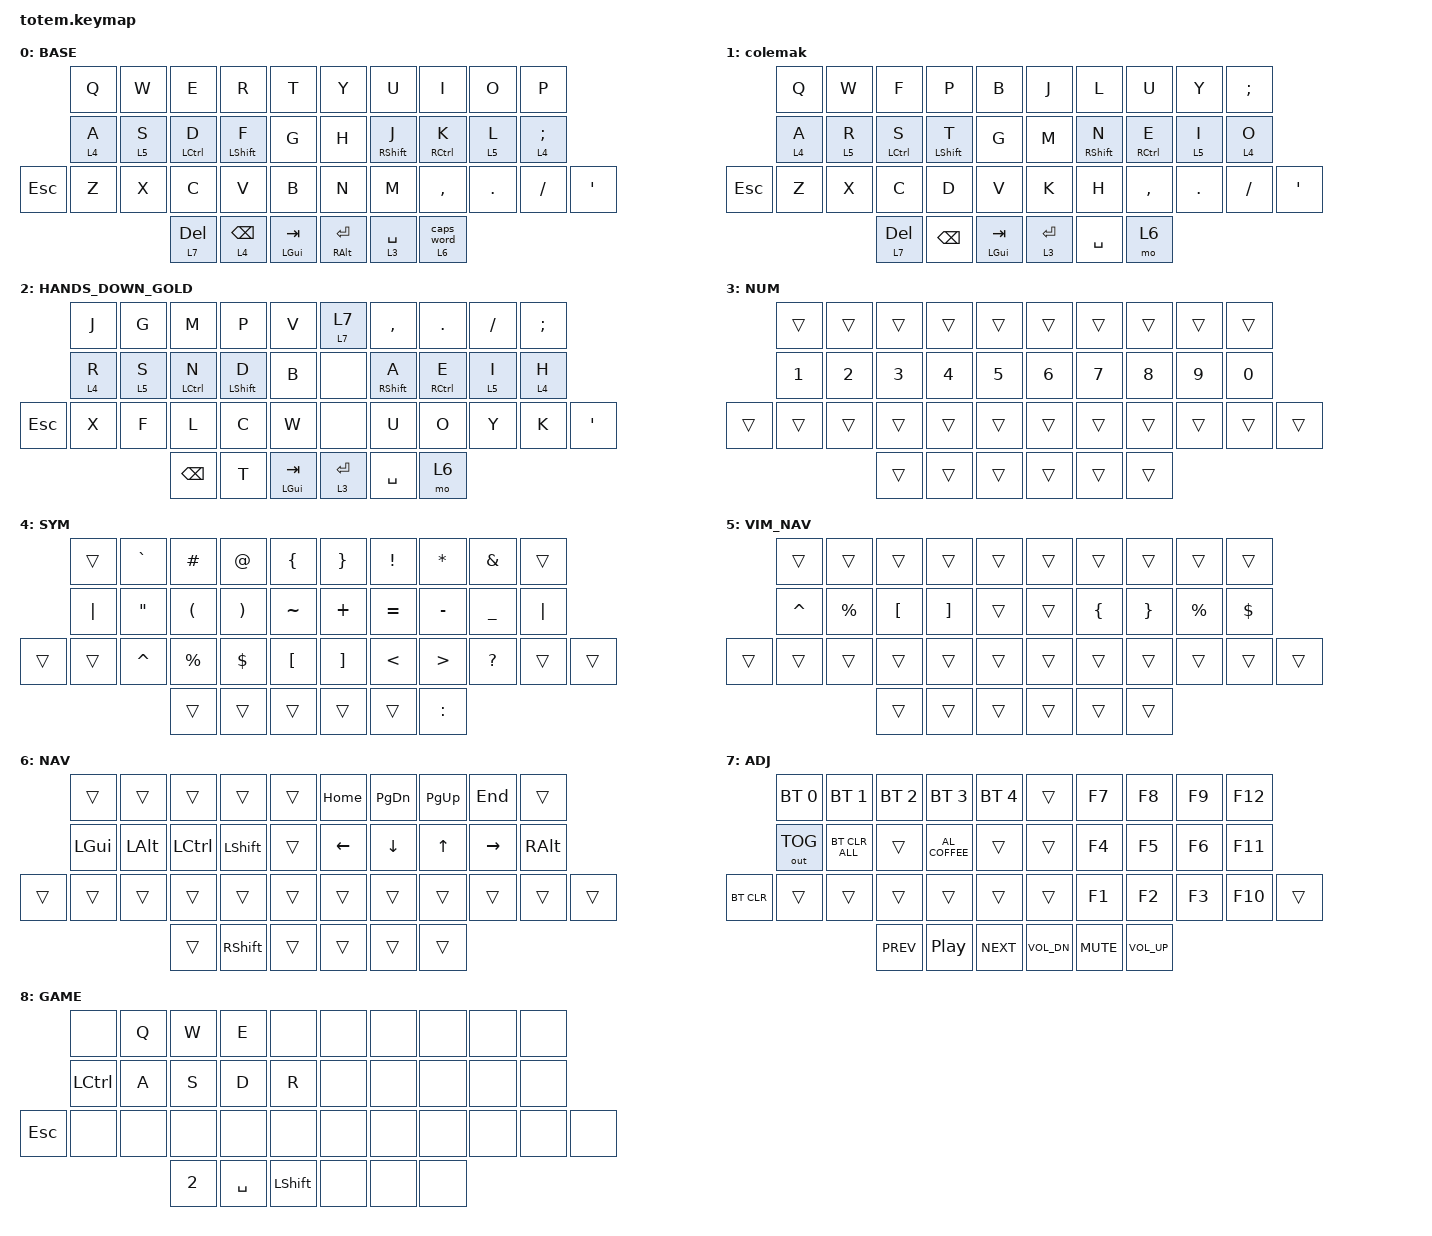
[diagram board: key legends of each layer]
//
//                                                        ▀▀▀▀▀     ▀▀▀▀▀          ▀▀█▀▀
//                                                        ▄▀▀▀▄  ▄  ▄▀▀▀▄  ▄  ▄▀▀▀▄  █  ▄▀▀▀▄
//                                                        █   █  █  █   █  █  █   █  █  █   █
//                                                         ▀▀▀   █   ▀▀▀   █   ▀▀▀   ▀   ▀▀▀
//                                                               █      ▄▄▄█▄▄▄    █   █  
//                                                               ▀      █  █  █     █▄█
//                                                             ▀▀▀▀▀    █  █  █      ▀
//                                                                      ▀  ▀  ▀
//
// ▄▄▄▄▄▄▄▄▄▄▄▄▄▄▄▄▄▄▄▄▄▄▄▄▄▄▄▄▄▄▄▄▄▄▄▄▄▄▄▄▄▄▄▄▄▄▄▄▄▄▄▄▄▄▄▄▄▄▄▄▄▄▄▄▄▄▄▄▄▄▄▄▄▄▄▄▄▄▄▄▄▄▄▄▄▄▄▄▄▄▄▄▄▄▄▄▄▄▄▄▄▄▄▄▄▄▄▄▄▄▄▄▄▄▄▄▄▄▄▄▄▄▄▄▄▄▄▄▄▄▄▄▄▄▄▄▄▄▄▄▄▄▄▄▄▄▄▄▄

#include <behaviors.dtsi>
#include <dt-bindings/zmk/bt.h>
#include <dt-bindings/zmk/keys.h>
#include <dt-bindings/zmk/outputs.h>

#define BASE 0
#define NAV  1
#define SYM  2
#define ADJ  3
#define TVP1 4
#define TVP2 5

&mt {
    quick-tap-ms = <100>;
    flavor = "balanced";
    tapping-term-ms = <170>;
};

/ {
    combos {
        compatible = "zmk,combos";

        leader {
            bindings = <&kp BSLH>;
            key-positions = <13 16>;
        };

        switch_lang {
            bindings = <&alts>;
            key-positions = <32 37>;
        };

        hands_down {
            bindings = <&tog 2>;
            key-positions = <20 31>;
            layers = <2 0>;
        };

        capsword {
            bindings = <&caps_word>;
            key-positions = <33 36>;
        };

        hdg_q {
            bindings = <&kp Q>;
            key-positions = <1 0>;
            layers = <2>;
        };

        hdg_z {
            bindings = <&kp Z>;
            key-positions = <1 3>;
            layers = <2>;
        };
    };

    macros {
        alts: alts {
            compatible = "zmk,behavior-macro";
            #binding-cells = <0>;
            bindings =
                <&macro_press>,
                <&kp LEFT_ALT>,
                <&macro_press>,
                <&kp RIGHT_ALT>,
                <&macro_release>,
                <&kp LEFT_ALT>,
                <&macro_release>,
                <&kp RIGHT_ALT>,
                <&macro_tap>,
                <&kp RALT>;

            label = "ALTS";
        };
    };

    behaviors {
        hll: home_layer_left {
            compatible = "zmk,behavior-hold-tap";
            label = "HLL";
            bindings = <&mo>, <&kp>;

            #binding-cells = <2>;
            tapping-term-ms = <200>;
            quick-tap-ms = <125>;
            require-prior-idle-ms = <60>;
            flavor = "balanced";
            hold-trigger-key-positions = <26 15 16 27 5 6 7 8 9 15 16 17 18 19 26 27 28 29 31 30>;
            hold-trigger-on-release;
        };

        hlr: home_layer_right {
            compatible = "zmk,behavior-hold-tap";
            label = "HLR";
            bindings = <&mo>, <&kp>;

            #binding-cells = <2>;
            hold-trigger-key-positions = <0 1 2 3 4 10 11 12 13 14 20 22 23 24 25 21>;
            hold-trigger-on-release;
            tapping-term-ms = <200>;
            quick-tap-ms = <125>;
            require-prior-idle-ms = <60>;
            flavor = "balanced";
        };

        hml: home_mod_left {
            compatible = "zmk,behavior-hold-tap";
            label = "HML";
            bindings = <&kp>, <&kp>;

            #binding-cells = <2>;
            tapping-term-ms = <175>;
            quick-tap-ms = <125>;
            require-prior-idle-ms = <50>;
            flavor = "balanced";
            hold-trigger-on-release;
            hold-trigger-key-positions = <5 6 7 8 9 15 16 17 18 19 26 27 28 29 30 31 35 36 37>;
        };

        hmr: home_mod_right {
            compatible = "zmk,behavior-hold-tap";
            label = "HMR";
            bindings = <&kp>, <&kp>;

            #binding-cells = <2>;
            tapping-term-ms = <175>;
            quick-tap-ms = <125>;
            require-prior-idle-ms = <50>;
            flavor = "balanced";
            hold-trigger-on-release;
            hold-trigger-key-positions = <0 1 2 3 4 10 11 12 13 14 20 21 22 23 24 25 32 33 34>;
        };

        thi: thi {
            compatible = "zmk,behavior-hold-tap";
            label = "THI";
            bindings = <&mo>, <&tog>;

            #binding-cells = <2>;
            tapping-term-ms = <150>;
        };

        hc: hold-caps {
            compatible = "zmk,behavior-hold-tap";
            label = "HOLD-CAPS";
            bindings = <&mo>, <&caps_word>;

            #binding-cells = <2>;
            tapping-term-ms = <150>;
        };

        nt: num-tab {
            compatible = "zmk,behavior-hold-tap";
            label = "NUM-TAB";
            bindings = <&mo>, <&kp>;

            #binding-cells = <2>;
            flavor = "balanced";
            hold-trigger-key-positions = <10 11 12 13 14 15 16 17 18 19>;
            tapping-term-ms = <250>;
            quick-tap-ms = <150>;
            require-prior-idle-ms = <60>;
        };
    };

    keymap {
        compatible = "zmk,keymap";

        // ▄▄▄▄▄▄▄▄▄▄▄▄▄▄▄▄▄▄▄▄▄▄▄▄▄▄▄▄▄▄▄▄▄▄▄▄▄▄▄▄▄▄▄▄▄▄▄▄▄▄▄▄▄▄▄▄▄▄▄▄▄▄▄▄▄▄▄▄▄▄▄▄▄▄▄▄▄▄▄▄▄▄▄▄▄▄▄▄▄▄▄▄▄▄▄▄▄▄▄▄▄▄▄▄▄▄▄▄▄▄▄▄▄▄▄▄▄▄▄▄▄▄▄▄▄▄▄▄▄▄▄▄▄▄▄▄▄▄▄▄▄▄▄▄▄▄▄▄▄

        base_layer {
            // ┏━━━━━━━━━━━━━━━━━━━━━━━━━━━━━━━━━━━━━━━┓

            label = "BASE";

            // ┗━━━━━━━━━━━━━━━━━━━━━━━━━━━━━━━━━━━━━━━┛
            //             ┏━━━━━━━━━━━┳━━━━━━━━━━━┳━━━━━━━━━━━┳━━━━━━━━━━━┳━━━━━━━━━━━┓   ┏━━━━━━━━━━━┳━━━━━━━━━━━┳━━━━━━━━━━━┳━━━━━━━━━━━┳━━━━━━━━━━━┓
            //             ┃     Q     ┃     W     ┃     E     ┃     R     ┃     T     ┃   ┃     Y     ┃     U     ┃     I     ┃     O     ┃     P     ┃
            //             ┣━━━━━━━━━━━╋━━━━━━━━━━━╋━━━━━━━━━━━╋━━━━━━━━━━━╋━━━━━━━━━━━┫   ┣━━━━━━━━━━━╋━━━━━━━━━━━╋━━━━━━━━━━━╋━━━━━━━━━━━╋━━━━━━━━━━━┫
            //             ┃    4/A    ┃    5/S    ┃  CTRL/D   ┃  SHFT/F   ┃     G     ┃   ┃     H     ┃  SHFT/J   ┃  CTRL/K   ┃    5/L    ┃    4/;    ┃
            // ┏━━━━━━━━━━━╋━━━━━━━━━━━╋━━━━━━━━━━━╋━━━━━━━━━━━╋━━━━━━━━━━━╋━━━━━━━━━━━┫   ┣━━━━━━━━━━━╋━━━━━━━━━━━╋━━━━━━━━━━━╋━━━━━━━━━━━╋━━━━━━━━━━━╋━━━━━━━━━━━┓
            // ┃    ESC    ┃     Z     ┃     X     ┃     C     ┃     V     ┃     B     ┃   ┃     N     ┃     M     ┃     ,     ┃     .     ┃     /     ┃     '     ┃
            // ┗━━━━━━━━━━━┻━━━━━━━━━━━┻━━━━━━━━━━━┻━━━━━━━━━━━┻━━━━━━━━━━━┻━━━━━━━━━━━┛   ┗━━━━━━━━━━━┻━━━━━━━━━━━┻━━━━━━━━━━━┻━━━━━━━━━━━┻━━━━━━━━━━━┻━━━━━━━━━━━┛
            //                                     ┏━━━━━━━━━━━┳━━━━━━━━━━━┳━━━━━━━━━━━┓   ┏━━━━━━━━━━━┳━━━━━━━━━━━┳━━━━━━━━━━━┓
            //                                     ┃   7/DEL   ┃   BSPC    ┃  GUI/TAB  ┃   ┃  3/ENTER  ┃           ┃    NAV    ┃
            //                                     ┗━━━━━━━━━━━┻━━━━━━━━━━━┻━━━━━━━━━━━┛   ┗━━━━━━━━━━━┻━━━━━━━━━━━┻━━━━━━━━━━━┛

            bindings = <
            &kp Q     &kp W     &kp E         &kp R         &kp T           &kp Y           &kp U         &kp I         &kp O     &kp P
            &hll 4 A  &hll 5 S  &hml LCTRL D  &hml LSHFT F  &kp G           &kp H           &hmr RSHFT J  &hmr RCTRL K  &hlr 5 L  &hlr 4 SEMICOLON
&kp ESCAPE  &kp Z     &kp X     &kp C         &kp V         &kp B           &kp N           &kp M         &kp COMMA     &kp DOT   &kp FSLH          &kp SQT
                                &lt 7 DEL     &lt 4 BSPC    &mt LGUI TAB    &mt RALT ENTER  &nt 3 SPACE   &hc 6 0
            >;
        };

        // ▄▄▄▄▄▄▄▄▄▄▄▄▄▄▄▄▄▄▄▄▄▄▄▄▄▄▄▄▄▄▄▄▄▄▄▄▄▄▄▄▄▄▄▄▄▄▄▄▄▄▄▄▄▄▄▄▄▄▄▄▄▄▄▄▄▄▄▄▄▄▄▄▄▄▄▄▄▄▄▄▄▄▄▄▄▄▄▄▄▄▄▄▄▄▄▄▄▄▄▄▄▄▄▄▄▄▄▄▄▄▄▄▄▄▄▄▄▄▄▄▄▄▄▄▄▄▄▄▄▄▄▄▄▄▄▄▄▄▄▄▄▄▄▄▄▄▄▄▄

        colemak {
            bindings = <
         &kp Q     &kp W     &kp F         &kp P          &kp B           &kp J         &kp L         &kp U         &kp Y     &kp SEMI
         &hll 4 A  &hll 5 R  &hml LCTRL S  &hml LSHFT T   &kp G           &kp M         &hmr RSHFT N  &hmr RCTRL E  &hlr 5 I  &hlr 4 O
&kp ESC  &kp Z     &kp X     &kp C         &kp D          &kp V           &kp K         &kp H         &kp COMMA     &kp DOT   &kp FSLH  &kp APOS
                             &lt 7 DEL     &kp BACKSPACE  &mt LGUI TAB    &lt 3 RETURN  &kp SPACE     &mo 6
            >;
        };

        // ▄▄▄▄▄▄▄▄▄▄▄▄▄▄▄▄▄▄▄▄▄▄▄▄▄▄▄▄▄▄▄▄▄▄▄▄▄▄▄▄▄▄▄▄▄▄▄▄▄▄▄▄▄▄▄▄▄▄▄▄▄▄▄▄▄▄▄▄▄▄▄▄▄▄▄▄▄▄▄▄▄▄▄▄▄▄▄▄▄▄▄▄▄▄▄▄▄▄▄▄▄▄▄▄▄▄▄▄▄▄▄▄▄▄▄▄▄▄▄▄▄▄▄▄▄▄▄▄▄▄▄▄▄▄▄▄▄▄▄▄▄▄▄▄▄▄▄▄▄

        hands_down_gold {
            //   ┏━━━━━━━━━━━━━━━━━━━━━━━━━━━━━━━━━━━━━━━┓

            label = "HANDS_DOWN_GOLD";

            //   ┗━━━━━━━━━━━━━━━━━━━━━━━━━━━━━━━━━━━━━━━┛
            //             ┏━━━━━━━━━━━┳━━━━━━━━━━━┳━━━━━━━━━━━┳━━━━━━━━━━━┳━━━━━━━━━━━┓   ┏━━━━━━━━━━━┳━━━━━━━━━━━┳━━━━━━━━━━━┳━━━━━━━━━━━┳━━━━━━━━━━━┓
            //             ┃     J     ┃     G     ┃     M     ┃     P     ┃     V     ┃   ┃    ADJ    ┃     ,     ┃     .     ┃     /     ┃     ;     ┃
            //             ┣━━━━━━━━━━━╋━━━━━━━━━━━╋━━━━━━━━━━━╋━━━━━━━━━━━╋━━━━━━━━━━━┫   ┣━━━━━━━━━━━╋━━━━━━━━━━━╋━━━━━━━━━━━╋━━━━━━━━━━━╋━━━━━━━━━━━┫
            //             ┃     R     ┃     S     ┃     N     ┃     D     ┃     B     ┃   ┃   None    ┃     A     ┃     E     ┃     I     ┃     H     ┃
            // ┏━━━━━━━━━━━╋━━━━━━━━━━━╋━━━━━━━━━━━╋━━━━━━━━━━━╋━━━━━━━━━━━╋━━━━━━━━━━━┫   ┣━━━━━━━━━━━╋━━━━━━━━━━━╋━━━━━━━━━━━╋━━━━━━━━━━━╋━━━━━━━━━━━╋━━━━━━━━━━━┓
            // ┃    ESC    ┃     X     ┃     F     ┃     L     ┃     C     ┃     W     ┃   ┃   None    ┃     U     ┃     O     ┃     Y     ┃     K     ┃     '     ┃
            // ┗━━━━━━━━━━━┻━━━━━━━━━━━┻━━━━━━━━━━━┻━━━━━━━━━━━┻━━━━━━━━━━━┻━━━━━━━━━━━┛   ┗━━━━━━━━━━━┻━━━━━━━━━━━┻━━━━━━━━━━━┻━━━━━━━━━━━┻━━━━━━━━━━━┻━━━━━━━━━━━┛
            //                                     ┏━━━━━━━━━━━┳━━━━━━━━━━━┳━━━━━━━━━━━┓   ┏━━━━━━━━━━━┳━━━━━━━━━━━┳━━━━━━━━━━━┓
            //                                     ┃   BSPC    ┃     T     ┃ TAB/LGUI  ┃   ┃  3/ENTER  ┃    SPC    ┃    NAV    ┃
            //                                     ┗━━━━━━━━━━━┻━━━━━━━━━━━┻━━━━━━━━━━━┛   ┗━━━━━━━━━━━┻━━━━━━━━━━━┻━━━━━━━━━━━┛

            bindings = <
         &kp J     &kp G     &kp M          &kp P         &kp V           &thi 7 7      &kp COMMA     &kp DOT       &kp FSLH  &kp SEMICOLON
         &hll 4 R  &hll 5 S  &hml LCTRL N   &hml LSHFT D  &kp B           &none         &hmr RSHFT A  &hmr RCTRL E  &hlr 5 I  &hlr 4 H
&kp ESC  &kp X     &kp F     &kp L          &kp C         &kp W           &none         &kp U         &kp O         &kp Y     &kp K          &kp SQT
                             &kp BACKSPACE  &kp T         &mt LGUI TAB    &lt 3 RETURN  &kp SPACE     &mo 6
            >;
        };

        // ▄▄▄▄▄▄▄▄▄▄▄▄▄▄▄▄▄▄▄▄▄▄▄▄▄▄▄▄▄▄▄▄▄▄▄▄▄▄▄▄▄▄▄▄▄▄▄▄▄▄▄▄▄▄▄▄▄▄▄▄▄▄▄▄▄▄▄▄▄▄▄▄▄▄▄▄▄▄▄▄▄▄▄▄▄▄▄▄▄▄▄▄▄▄▄▄▄▄▄▄▄▄▄▄▄▄▄▄▄▄▄▄▄▄▄▄▄▄▄▄▄▄▄▄▄▄▄▄▄▄▄▄▄▄▄▄▄▄▄▄▄▄▄▄▄▄▄▄▄

        numbers {
            // ┏━━━━━━━━━━━━━━━━━━━━━━━━━━━━━━━━━━━━━━━┓

            label = "NUM";

            // ┗━━━━━━━━━━━━━━━━━━━━━━━━━━━━━━━━━━━━━━━┛
            //             ┏━━━━━━━━━━━┳━━━━━━━━━━━┳━━━━━━━━━━━┳━━━━━━━━━━━┳━━━━━━━━━━━┓   ┏━━━━━━━━━━━┳━━━━━━━━━━━┳━━━━━━━━━━━┳━━━━━━━━━━━┳━━━━━━━━━━━┓
            //             ┃           ┃           ┃           ┃           ┃           ┃   ┃           ┃           ┃           ┃           ┃           ┃
            //             ┣━━━━━━━━━━━╋━━━━━━━━━━━╋━━━━━━━━━━━╋━━━━━━━━━━━╋━━━━━━━━━━━┫   ┣━━━━━━━━━━━╋━━━━━━━━━━━╋━━━━━━━━━━━╋━━━━━━━━━━━╋━━━━━━━━━━━┫
            //             ┃     1     ┃     2     ┃     3     ┃     4     ┃     5     ┃   ┃     6     ┃     7     ┃     8     ┃     9     ┃     0     ┃
            // ┏━━━━━━━━━━━╋━━━━━━━━━━━╋━━━━━━━━━━━╋━━━━━━━━━━━╋━━━━━━━━━━━╋━━━━━━━━━━━┫   ┣━━━━━━━━━━━╋━━━━━━━━━━━╋━━━━━━━━━━━╋━━━━━━━━━━━╋━━━━━━━━━━━╋━━━━━━━━━━━┓
            // ┃           ┃           ┃           ┃           ┃           ┃           ┃   ┃           ┃           ┃           ┃           ┃           ┃           ┃
            // ┗━━━━━━━━━━━┻━━━━━━━━━━━┻━━━━━━━━━━━┻━━━━━━━━━━━┻━━━━━━━━━━━┻━━━━━━━━━━━┛   ┗━━━━━━━━━━━┻━━━━━━━━━━━┻━━━━━━━━━━━┻━━━━━━━━━━━┻━━━━━━━━━━━┻━━━━━━━━━━━┛
            //                                     ┏━━━━━━━━━━━┳━━━━━━━━━━━┳━━━━━━━━━━━┓   ┏━━━━━━━━━━━┳━━━━━━━━━━━┳━━━━━━━━━━━┓
            //                                     ┃           ┃           ┃           ┃   ┃           ┃           ┃           ┃
            //                                     ┗━━━━━━━━━━━┻━━━━━━━━━━━┻━━━━━━━━━━━┛   ┗━━━━━━━━━━━┻━━━━━━━━━━━┻━━━━━━━━━━━┛

            bindings = <
        &trans  &trans  &trans  &trans  &trans    &trans  &trans  &trans  &trans  &trans
        &kp N1  &kp N2  &kp N3  &kp N4  &kp N5    &kp N6  &kp N7  &kp N8  &kp N9  &kp N0
&trans  &trans  &trans  &trans  &trans  &trans    &trans  &trans  &trans  &trans  &trans  &trans
                        &trans  &trans  &trans    &trans  &trans  &trans
            >;
        };

        // ▄▄▄▄▄▄▄▄▄▄▄▄▄▄▄▄▄▄▄▄▄▄▄▄▄▄▄▄▄▄▄▄▄▄▄▄▄▄▄▄▄▄▄▄▄▄▄▄▄▄▄▄▄▄▄▄▄▄▄▄▄▄▄▄▄▄▄▄▄▄▄▄▄▄▄▄▄▄▄▄▄▄▄▄▄▄▄▄▄▄▄▄▄▄▄▄▄▄▄▄▄▄▄▄▄▄▄▄▄▄▄▄▄▄▄▄▄▄▄▄▄▄▄▄▄▄▄▄▄▄▄▄▄▄▄▄▄▄▄▄▄▄▄▄▄▄▄▄▄

        sym_layer {
            // ┏━━━━━━━━━━━━━━━━━━━━━━━━━━━━━━━━━━━━━━━┓

            label = "SYM";

            // ┗━━━━━━━━━━━━━━━━━━━━━━━━━━━━━━━━━━━━━━━┛
            //             ┏━━━━━━━━━━━┳━━━━━━━━━━━┳━━━━━━━━━━━┳━━━━━━━━━━━┳━━━━━━━━━━━┓   ┏━━━━━━━━━━━┳━━━━━━━━━━━┳━━━━━━━━━━━┳━━━━━━━━━━━┳━━━━━━━━━━━┓
            //             ┃           ┃     #     ┃     `     ┃     @     ┃           ┃   ┃           ┃     *     ┃     !     ┃     &     ┃           ┃
            //             ┣━━━━━━━━━━━╋━━━━━━━━━━━╋━━━━━━━━━━━╋━━━━━━━━━━━╋━━━━━━━━━━━┫   ┣━━━━━━━━━━━╋━━━━━━━━━━━╋━━━━━━━━━━━╋━━━━━━━━━━━╋━━━━━━━━━━━┫
            //             ┃     |     ┃     (     ┃     ?     ┃     )     ┃     ~     ┃   ┃     +     ┃     =     ┃     -     ┃     _     ┃     |     ┃
            // ┏━━━━━━━━━━━╋━━━━━━━━━━━╋━━━━━━━━━━━╋━━━━━━━━━━━╋━━━━━━━━━━━╋━━━━━━━━━━━┫   ┣━━━━━━━━━━━╋━━━━━━━━━━━╋━━━━━━━━━━━╋━━━━━━━━━━━╋━━━━━━━━━━━╋━━━━━━━━━━━┓
            // ┃           ┃           ┃     %     ┃     '     ┃     "     ┃           ┃   ┃           ┃     <     ┃     :     ┃     >     ┃           ┃           ┃
            // ┗━━━━━━━━━━━┻━━━━━━━━━━━┻━━━━━━━━━━━┻━━━━━━━━━━━┻━━━━━━━━━━━┻━━━━━━━━━━━┛   ┗━━━━━━━━━━━┻━━━━━━━━━━━┻━━━━━━━━━━━┻━━━━━━━━━━━┻━━━━━━━━━━━┻━━━━━━━━━━━┛
            //                                     ┏━━━━━━━━━━━┳━━━━━━━━━━━┳━━━━━━━━━━━┓   ┏━━━━━━━━━━━┳━━━━━━━━━━━┳━━━━━━━━━━━┓
            //                                     ┃           ┃           ┃           ┃   ┃           ┃           ┃           ┃
            //                                     ┗━━━━━━━━━━━┻━━━━━━━━━━━┻━━━━━━━━━━━┛   ┗━━━━━━━━━━━┻━━━━━━━━━━━┻━━━━━━━━━━━┛

            bindings = <
        &trans    &kp GRAVE  &kp HASH   &kp AT      &kp LBRC     &kp RBRC  &kp EXCL   &kp ASTRK  &kp AMPS   &trans
        &kp PIPE  &kp DQT    &kp LPAR   &kp RPAR    &kp TILDE    &kp PLUS  &kp EQUAL  &kp MINUS  &kp UNDER  &kp PIPE
&trans  &trans    &kp CARET  &kp PRCNT  &kp DOLLAR  &kp LBKT     &kp RBKT  &kp LT     &kp GT     &kp QMARK  &trans    &trans
                             &trans     &trans      &trans       &trans    &trans     &kp COLON
            >;
        };

        // ▄▄▄▄▄▄▄▄▄▄▄▄▄▄▄▄▄▄▄▄▄▄▄▄▄▄▄▄▄▄▄▄▄▄▄▄▄▄▄▄▄▄▄▄▄▄▄▄▄▄▄▄▄▄▄▄▄▄▄▄▄▄▄▄▄▄▄▄▄▄▄▄▄▄▄▄▄▄▄▄▄▄▄▄▄▄▄▄▄▄▄▄▄▄▄▄▄▄▄▄▄▄▄▄▄▄▄▄▄▄▄▄▄▄▄▄▄▄▄▄▄▄▄▄▄▄▄▄▄▄▄▄▄▄▄▄▄▄▄▄▄▄▄▄▄▄▄▄▄

        vim_nav {
            // ┏━━━━━━━━━━━━━━━━━━━━━━━━━━━━━━━━━━━━━━━┓

            label = "VIM_NAV";

            // ┗━━━━━━━━━━━━━━━━━━━━━━━━━━━━━━━━━━━━━━━┛
            //             ┏━━━━━━━━━━━┳━━━━━━━━━━━┳━━━━━━━━━━━┳━━━━━━━━━━━┳━━━━━━━━━━━┓   ┏━━━━━━━━━━━┳━━━━━━━━━━━┳━━━━━━━━━━━┳━━━━━━━━━━━┳━━━━━━━━━━━┓
            //             ┃           ┃           ┃           ┃           ┃           ┃   ┃           ┃           ┃           ┃           ┃           ┃
            //             ┣━━━━━━━━━━━╋━━━━━━━━━━━╋━━━━━━━━━━━╋━━━━━━━━━━━╋━━━━━━━━━━━┫   ┣━━━━━━━━━━━╋━━━━━━━━━━━╋━━━━━━━━━━━╋━━━━━━━━━━━╋━━━━━━━━━━━┫
            //             ┃     ^     ┃     %     ┃     [     ┃     ]     ┃           ┃   ┃           ┃     {     ┃     }     ┃     %     ┃     $     ┃
            // ┏━━━━━━━━━━━╋━━━━━━━━━━━╋━━━━━━━━━━━╋━━━━━━━━━━━╋━━━━━━━━━━━╋━━━━━━━━━━━┫   ┣━━━━━━━━━━━╋━━━━━━━━━━━╋━━━━━━━━━━━╋━━━━━━━━━━━╋━━━━━━━━━━━╋━━━━━━━━━━━┓
            // ┃           ┃           ┃           ┃           ┃           ┃           ┃   ┃           ┃           ┃           ┃           ┃           ┃           ┃
            // ┗━━━━━━━━━━━┻━━━━━━━━━━━┻━━━━━━━━━━━┻━━━━━━━━━━━┻━━━━━━━━━━━┻━━━━━━━━━━━┛   ┗━━━━━━━━━━━┻━━━━━━━━━━━┻━━━━━━━━━━━┻━━━━━━━━━━━┻━━━━━━━━━━━┻━━━━━━━━━━━┛
            //                                     ┏━━━━━━━━━━━┳━━━━━━━━━━━┳━━━━━━━━━━━┓   ┏━━━━━━━━━━━┳━━━━━━━━━━━┳━━━━━━━━━━━┓
            //                                     ┃           ┃           ┃           ┃   ┃           ┃           ┃           ┃
            //                                     ┗━━━━━━━━━━━┻━━━━━━━━━━━┻━━━━━━━━━━━┛   ┗━━━━━━━━━━━┻━━━━━━━━━━━┻━━━━━━━━━━━┛

            bindings = <
        &trans     &trans     &trans    &trans    &trans    &trans  &trans    &trans    &trans       &trans
        &kp CARET  &kp PRCNT  &kp LBKT  &kp RBKT  &trans    &trans  &kp LBRC  &kp RBRC  &kp PERCENT  &kp DOLLAR
&trans  &trans     &trans     &trans    &trans    &trans    &trans  &trans    &trans    &trans       &trans      &trans
                              &trans    &trans    &trans    &trans  &trans    &trans
            >;
        };

        // ▄▄▄▄▄▄▄▄▄▄▄▄▄▄▄▄▄▄▄▄▄▄▄▄▄▄▄▄▄▄▄▄▄▄▄▄▄▄▄▄▄▄▄▄▄▄▄▄▄▄▄▄▄▄▄▄▄▄▄▄▄▄▄▄▄▄▄▄▄▄▄▄▄▄▄▄▄▄▄▄▄▄▄▄▄▄▄▄▄▄▄▄▄▄▄▄▄▄▄▄▄▄▄▄▄▄▄▄▄▄▄▄▄▄▄▄▄▄▄▄▄▄▄▄▄▄▄▄▄▄▄▄▄▄▄▄▄▄▄▄▄▄▄▄▄▄▄▄▄

        nonvim_nav {
            // ┏━━━━━━━━━━━━━━━━━━━━━━━━━━━━━━━━━━━━━━━┓

            label = "NAV";

            // ┗━━━━━━━━━━━━━━━━━━━━━━━━━━━━━━━━━━━━━━━┛
            //             ┏━━━━━━━━━━━┳━━━━━━━━━━━┳━━━━━━━━━━━┳━━━━━━━━━━━┳━━━━━━━━━━━┓   ┏━━━━━━━━━━━┳━━━━━━━━━━━┳━━━━━━━━━━━┳━━━━━━━━━━━┳━━━━━━━━━━━┓
            //             ┃           ┃           ┃           ┃           ┃           ┃   ┃   HOME    ┃  PG DOWN  ┃   PG UP   ┃    END    ┃           ┃
            //             ┣━━━━━━━━━━━╋━━━━━━━━━━━╋━━━━━━━━━━━╋━━━━━━━━━━━╋━━━━━━━━━━━┫   ┣━━━━━━━━━━━╋━━━━━━━━━━━╋━━━━━━━━━━━╋━━━━━━━━━━━╋━━━━━━━━━━━┫
            //             ┃    GUI    ┃   LALT    ┃  LCTRL    ┃   LSHFT   ┃           ┃   ┃   LEFT    ┃   DOWN    ┃    UP     ┃   RIGHT   ┃   RALT    ┃
            // ┏━━━━━━━━━━━╋━━━━━━━━━━━╋━━━━━━━━━━━╋━━━━━━━━━━━╋━━━━━━━━━━━╋━━━━━━━━━━━┫   ┣━━━━━━━━━━━╋━━━━━━━━━━━╋━━━━━━━━━━━╋━━━━━━━━━━━╋━━━━━━━━━━━╋━━━━━━━━━━━┓
            // ┃           ┃           ┃           ┃           ┃           ┃           ┃   ┃           ┃           ┃           ┃           ┃           ┃           ┃
            // ┗━━━━━━━━━━━┻━━━━━━━━━━━┻━━━━━━━━━━━┻━━━━━━━━━━━┻━━━━━━━━━━━┻━━━━━━━━━━━┛   ┗━━━━━━━━━━━┻━━━━━━━━━━━┻━━━━━━━━━━━┻━━━━━━━━━━━┻━━━━━━━━━━━┻━━━━━━━━━━━┛
            //                                     ┏━━━━━━━━━━━┳━━━━━━━━━━━┳━━━━━━━━━━━┓   ┏━━━━━━━━━━━┳━━━━━━━━━━━┳━━━━━━━━━━━┓
            //                                     ┃           ┃   RSHFT   ┃           ┃   ┃           ┃           ┃           ┃
            //                                     ┗━━━━━━━━━━━┻━━━━━━━━━━━┻━━━━━━━━━━━┛   ┗━━━━━━━━━━━┻━━━━━━━━━━━┻━━━━━━━━━━━┛

            bindings = <
        &trans    &trans    &trans     &trans      &trans    &kp HOME  &kp PAGE_DOWN  &kp PAGE_UP  &kp END    &trans
        &kp LGUI  &kp LALT  &kp LCTRL  &kp LSHIFT  &trans    &kp LEFT  &kp DOWN       &kp UP       &kp RIGHT  &kp RALT
&trans  &trans    &trans    &trans     &trans      &trans    &trans    &trans         &trans       &trans     &trans    &trans
                            &trans     &kp RSHFT   &trans    &trans    &trans         &trans
            >;
        };

        // ▄▄▄▄▄▄▄▄▄▄▄▄▄▄▄▄▄▄▄▄▄▄▄▄▄▄▄▄▄▄▄▄▄▄▄▄▄▄▄▄▄▄▄▄▄▄▄▄▄▄▄▄▄▄▄▄▄▄▄▄▄▄▄▄▄▄▄▄▄▄▄▄▄▄▄▄▄▄▄▄▄▄▄▄▄▄▄▄▄▄▄▄▄▄▄▄▄▄▄▄▄▄▄▄▄▄▄▄▄▄▄▄▄▄▄▄▄▄▄▄▄▄▄▄▄▄▄▄▄▄▄▄▄▄▄▄▄▄▄▄▄▄▄▄▄▄▄▄▄

        adjust_layer {
            // ┏━━━━━━━━━━━━━━━━━━━━━━━━━━━━━━━━━━━━━━━┓

            label = "ADJ";

            // ┗━━━━━━━━━━━━━━━━━━━━━━━━━━━━━━━━━━━━━━━┛
            //             ┏━━━━━━━━━━━┳━━━━━━━━━━━┳━━━━━━━━━━━┳━━━━━━━━━━━┳━━━━━━━━━━━┓   ┏━━━━━━━━━━━┳━━━━━━━━━━━┳━━━━━━━━━━━┳━━━━━━━━━━━┳━━━━━━━━━━━┓
            //             ┃   BT 0    ┃   BT 1    ┃   BT 2    ┃   BT 3    ┃   BT 4    ┃   ┃           ┃    F7     ┃    F8     ┃    F9     ┃    F12    ┃
            //             ┣━━━━━━━━━━━╋━━━━━━━━━━━╋━━━━━━━━━━━╋━━━━━━━━━━━╋━━━━━━━━━━━┫   ┣━━━━━━━━━━━╋━━━━━━━━━━━╋━━━━━━━━━━━╋━━━━━━━━━━━╋━━━━━━━━━━━┫
            //             ┃           ┃           ┃           ┃   LOCK    ┃           ┃   ┃           ┃    F4     ┃    F5     ┃    F6     ┃    F11    ┃
            // ┏━━━━━━━━━━━╋━━━━━━━━━━━╋━━━━━━━━━━━╋━━━━━━━━━━━╋━━━━━━━━━━━╋━━━━━━━━━━━┫   ┣━━━━━━━━━━━╋━━━━━━━━━━━╋━━━━━━━━━━━╋━━━━━━━━━━━╋━━━━━━━━━━━╋━━━━━━━━━━━┓
            // ┃ BT CLEAR  ┃           ┃           ┃           ┃           ┃           ┃   ┃           ┃    F1     ┃    F2     ┃    F3     ┃    F10    ┃           ┃
            // ┗━━━━━━━━━━━┻━━━━━━━━━━━┻━━━━━━━━━━━┻━━━━━━━━━━━┻━━━━━━━━━━━┻━━━━━━━━━━━┛   ┗━━━━━━━━━━━┻━━━━━━━━━━━┻━━━━━━━━━━━┻━━━━━━━━━━━┻━━━━━━━━━━━┻━━━━━━━━━━━┛
            //                                     ┏━━━━━━━━━━━┳━━━━━━━━━━━┳━━━━━━━━━━━┓   ┏━━━━━━━━━━━┳━━━━━━━━━━━┳━━━━━━━━━━━┓
            //                                     ┃   PREV    ┃   PLAY    ┃   NEXT    ┃   ┃  VOL  DN  ┃   MUTE    ┃  VOL  UP  ┃
            //                                     ┗━━━━━━━━━━━┻━━━━━━━━━━━┻━━━━━━━━━━━┛   ┗━━━━━━━━━━━┻━━━━━━━━━━━┻━━━━━━━━━━━┛

            bindings = <
            &bt BT_SEL 0  &bt BT_SEL 1    &bt BT_SEL 2  &bt BT_SEL 3     &bt BT_SEL 4    &trans        &kp F7      &kp F8        &kp F9  &kp F12
            &out OUT_TOG  &bt BT_CLR_ALL  &trans        &kp C_AL_COFFEE  &trans          &trans        &kp F4      &kp F5        &kp F6  &kp F11
&bt BT_CLR  &trans        &trans          &trans        &trans           &trans          &trans        &kp F1      &kp F2        &kp F3  &kp F10  &trans
                                          &kp C_PREV    &kp C_PP         &kp C_NEXT      &kp C_VOL_DN  &kp C_MUTE  &kp C_VOL_UP
            >;
        };

        // ▄▄▄▄▄▄▄▄▄▄▄▄▄▄▄▄▄▄▄▄▄▄▄▄▄▄▄▄▄▄▄▄▄▄▄▄▄▄▄▄▄▄▄▄▄▄▄▄▄▄▄▄▄▄▄▄▄▄▄▄▄▄▄▄▄▄▄▄▄▄▄▄▄▄▄▄▄▄▄▄▄▄▄▄▄▄▄▄▄▄▄▄▄▄▄▄▄▄▄▄▄▄▄▄▄▄▄▄▄▄▄▄▄▄▄▄▄▄▄▄▄▄▄▄▄▄▄▄▄▄▄▄▄▄▄▄▄▄▄▄▄▄▄▄▄▄▄▄▄

        game {
            bindings = <
            &none      &kp Q  &kp W   &kp E      &none        &none  &none  &none  &none  &none
            &kp LCTRL  &kp A  &kp S   &kp D      &kp R        &none  &none  &none  &none  &none
&kp ESCAPE  &none      &none  &none   &none      &none        &none  &none  &none  &none  &none  &none
                              &kp N2  &kp SPACE  &kp LSHFT    &none  &none  &none
            >;

            label = "GAME";
        };
    };
};
